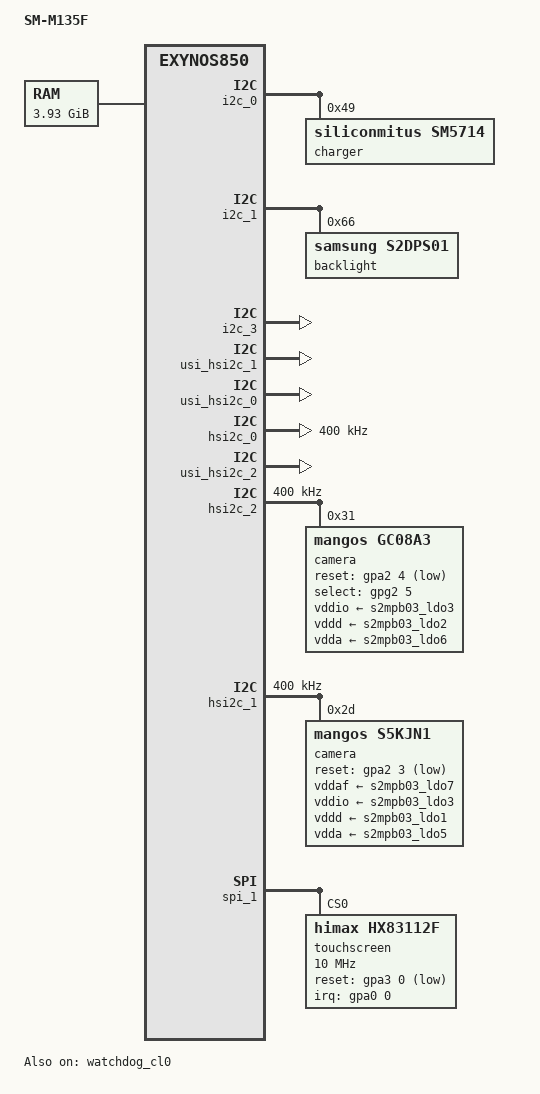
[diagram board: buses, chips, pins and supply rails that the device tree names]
// SPDX-License-Identifier: GPL-2.0-only
/*
 * SM-M135F (Galaxy M13, board "M13 EUR OPEN REV02", 4 GB RAM): the A135F
 * description plus what this board needs on top of it: memory map, Himax
 * HX83112F touchscreen, SM5714 charger and fuel gauge, S2DPS01 backlight,
 * speaker amplifier bus, the two camera sensors and their frame memory.
 */

/dts-v1/;

#include "exynos850-a135f-common.dtsi"
#include <dt-bindings/gpio/gpio.h>

/ {
	model = "SM-M135F";
	compatible = "samsung,m135f", "samsung,exynos850";
	#address-cells = <2>;
	#size-cells = <2>;

	memory@80000000 {
		device_type = "memory";
		/*
		 * The first block ends at 0xbc400000, not at 0xbc900000 as on the
		 * A135F: on this board the 5 MiB above read back as zeroes whatever
		 * is written, so using them silently loses data.
		 */
		reg = <0x0 0x80000000 0x0 0x3c400000>,
		      /* Memory hole */
		      <0x0 0xc0000000 0x0 0x20000000>,
		      /* Memory hole */
		      <0x0 0xe0d00000 0x0 0x1f300000>,
		      /* Memory hole - last block */
		      <0x8 0x80000000 0x0 0x80000000>;
	};
};

/ {
	chosen {
		/*
		 * The *_ignore_unused options keep on what the bootloader left
		 * powered and clocked: the abox, chub and camera modules rely on
		 * it, and reading the registers of a switched-off block hangs the
		 * kernel. quiet, loglevel=0 and fbcon=map:1 keep the text console
		 * off the panel so the boot splash stays until the compositor draws;
		 * messages remain available through dmesg.
		 */
		bootargs = "clk_ignore_unused pd_ignore_unused regulator_ignore_unused quiet loglevel=0 fbcon=map:1";
	};
};

/*
 * The power management firmware cannot report the CPU rates. The bootloader
 * leaves both clusters at 1053 MHz: request it at start, so the ACPM clocks
 * have a real rate when cpufreq reads them.
 */
&acpm_ipc {
	assigned-clocks = <&acpm_ipc EXYNOS850_CLK_ACPM_DVFS_CPUCL0>,
			  <&acpm_ipc EXYNOS850_CLK_ACPM_DVFS_CPUCL1>;
	assigned-clock-rates = <1053000000>, <1053000000>;
};

/*
 * Watchdog of the first CPU cluster. It stays off until something opens
 * /dev/watchdog; once started, a hang ends in a reset instead of a dead phone.
 */
&watchdog_cl0 {
	status = "okay";
};

/*
 * Shared memory of the Wi-Fi/Bluetooth subsystem: the common dtsi writes size
 * and allocation range with one size cell, but reserved-memory uses two, and
 * the region is dropped ("invalid size property in 'wifibt-if' node"). The
 * driver needs it below 4 GiB.
 */
&wifibt_if {
	size = <0x0 0xc00000>;
	alloc-ranges = <0x0 0x80000000 0x0 0x80000000>;
};

/*
 * Same problem for the Wi-Fi/Bluetooth subsystem and its system controller
 * windows: they sit at the root, where this board uses two size cells, with
 * one-size-cell reg values ("Error getting mem resource for MAILBOX_WLBT").
 */
&syscon_i3c_apm_pmic {
	reg = <0x0 0x11a50000 0x0 0x1800>;
};

&syscon_dbus_baaw {
	reg = <0x0 0x14c20000 0x0 0x300>;
};

&syscon_pbus_baaw {
	reg = <0x0 0x14c30000 0x0 0x300>;
};

&syscon_wlbt_remap {
	reg = <0x0 0x14c50000 0x0 0x500>;
};

&syscon_boot_cfg {
	reg = <0x0 0x14c60000 0x0 0x1200>;
};

&wlbt {
	reg = <0x0 0x119c0000 0x0 0x180>;
};

/* Panel and touch controller logic supply: never let a consumer switch it off. */
&vdd_ldo28 {
	regulator-always-on;
};

/* No external pull-ups on this bus: without the internal ones it never goes idle. */
&i2c0_pins {
	samsung,pin-pud = <EXYNOS_PIN_PULL_UP>;
};

&i2c_0 {
	status = "okay";

	charger@49 {
		compatible = "siliconmitus,sm5714";
		reg = <0x49>;
	};
};

&i2c_1 {
	status = "okay";

	backlight@66 {
		compatible = "samsung,s2dps01";
		reg = <0x66>;
	};
};

/* Speaker amplifier (Silicon Mitus SMA1303 at 0x1e), driven by the abox module. */
&i2c_3 {
	status = "okay";
};

/*
 * Rear camera sensor (Samsung S5KJN1 at 0x2d). Supplies come from the S2MPB03
 * on i2c_5. The master clock (CIS_CLK0, 26 MHz on gpc0-0) has no clock driver:
 * the camera module switches it on by hand, which is why the node is not
 * "samsung,s5kjn1".
 */
&usi_hsi2c_1 {
	status = "okay";
};

/*
 * Rear camera focus motor (Dongwoon DW9808 at 0x0c). The camera module creates the client
 * itself.
 */
&usi_hsi2c_0 {
	status = "okay";
};

&hsi2c_0 {
	status = "okay";
	clock-frequency = <400000>;
};

/*
 * Front camera sensor (GalaxyCore GC08A3 at 0x31). Master clock on gpc0-1,
 * reset on gpa2-4; gpg2-5 selects which sensor reaches the receiver.
 */
&usi_hsi2c_2 {
	status = "okay";
};

&hsi2c_2 {
	status = "okay";
	clock-frequency = <400000>;

	camera@31 {
		compatible = "mangos,gc08a3";
		reg = <0x31>;
		vddio-supply = <&s2mpb03_ldo3>;
		vddd-supply = <&s2mpb03_ldo2>;
		vdda-supply = <&s2mpb03_ldo6>;
		reset-gpios = <&gpa2 4 GPIO_ACTIVE_LOW>;
		select-gpios = <&gpg2 5 GPIO_ACTIVE_HIGH>;
		pinctrl-0 = <&sensor_mclk1_fn_pins>;
		pinctrl-names = "default";
		memory-region = <&camera_mem>;
	};
};

&hsi2c_1 {
	status = "okay";
	clock-frequency = <400000>;

	camera@2d {
		compatible = "mangos,s5kjn1";
		reg = <0x2d>;
		vddaf-supply = <&s2mpb03_ldo7>;
		vddio-supply = <&s2mpb03_ldo3>;
		vddd-supply = <&s2mpb03_ldo1>;
		vdda-supply = <&s2mpb03_ldo5>;
		reset-gpios = <&gpa2 3 GPIO_ACTIVE_LOW>;
		pinctrl-0 = <&sensor_mclk0_fn_pins>;
		pinctrl-names = "default";
		memory-region = <&camera_mem>;
	};
};

/*
 * Frame memory for the camera receiver, which writes to physical addresses
 * (its IOMMU is not enabled) through a 32-bit register: contiguous and below
 * 4 GiB. The default contiguous area is 32 MiB and mostly taken by the audio
 * firmware. Reusable: the system uses it while the camera is idle.
 */
&{/reserved-memory} {
	camera_mem: camera {
		compatible = "shared-dma-pool";
		reusable;
		size = <0x0 0x2000000>;
		alignment = <0x0 0x400000>;
		alloc-ranges = <0x0 0x80000000 0x0 0x80000000>;
	};
};

&pinctrl_alive {
	ts_int: ts-int-pins {
		samsung,pins = "gpa0-0";
		samsung,pin-function = <EXYNOS_PIN_FUNC_EINT>;
		samsung,pin-pud = <EXYNOS_PIN_PULL_NONE>;
	};

	ts_reset: ts-reset-pins {
		samsung,pins = "gpa3-0";
		samsung,pin-pud = <EXYNOS_PIN_PULL_NONE>;
	};
};

&spi_1 {
	/* Without DMA: with it the firmware download times out on the second block. */
	/delete-property/ dmas;
	/delete-property/ dma-names;

	/delete-node/ touchscreen@0;

	/*
	 * In-cell controller sharing the panel supplies, which the bootloader
	 * leaves on; it has no supply of its own to switch.
	 */
	touchscreen@0 {
		compatible = "himax,hx83112f";
		reg = <0>;
		spi-max-frequency = <10000000>;
		spi-cpol;
		spi-cpha;

		interrupt-parent = <&gpa0>;
		interrupts = <0 IRQ_TYPE_EDGE_FALLING>;
		reset-gpios = <&gpa3 0 GPIO_ACTIVE_LOW>;

		pinctrl-0 = <&ts_int &ts_reset>;
		pinctrl-names = "default";

		touchscreen-size-x = <1080>;
		touchscreen-size-y = <2408>;
	};
};
